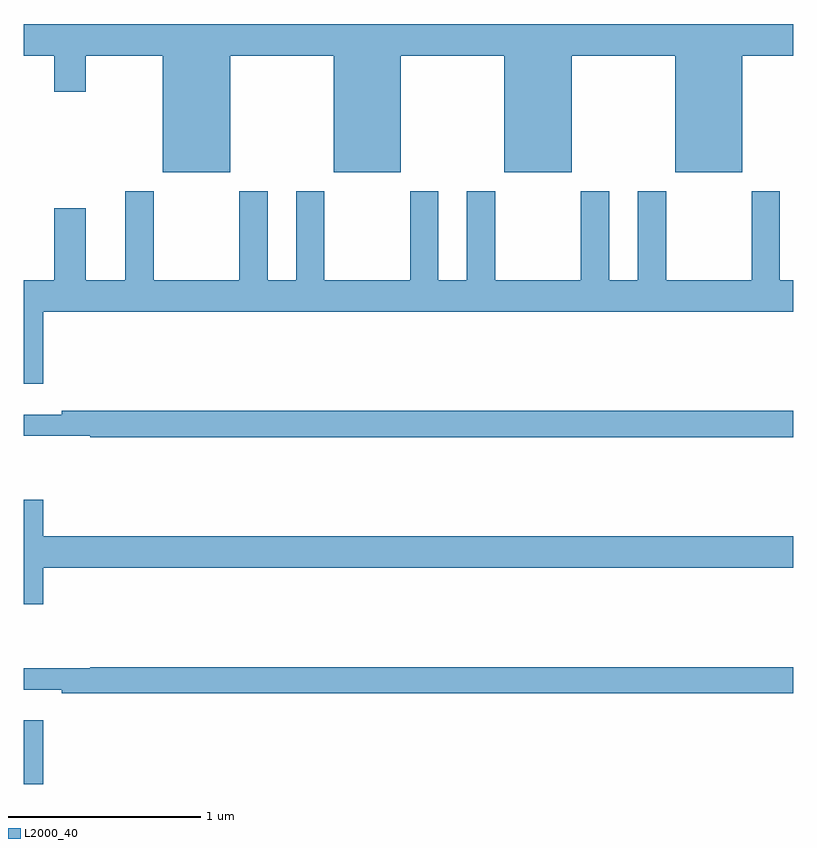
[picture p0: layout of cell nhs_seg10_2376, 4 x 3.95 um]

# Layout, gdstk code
import gdstk
lib = gdstk.Library(unit=1e-6, precision=1e-09)
def R(c, l, rs):  # rectangles x0, y0, x1, y1
    for r in rs: c.add(gdstk.rectangle(r[:2], r[2:], *l))
def P(c, l, *ps):  # polygons
    for p in ps: c.add(gdstk.Polygon(p, *l))
L2000_40 = (2000, 40)

nhs_seg10_2376 = lib.new_cell('nhs_seg10_2376')
R(nhs_seg10_2376, L2000_40, [(237,1324.5,237.1,1324.831)])
P(nhs_seg10_2376, L2000_40, [(238.072,1328.288),(238.61,1328.288),(238.61,1327.682),(238.96,1327.682),(238.96,1328.288),(239.498,1328.288),(239.498,1327.682),(239.848,1327.682),(239.848,1328.288),(240.386,1328.288),(240.386,1327.682),(240.736,1327.682),(240.736,1328.288),(241,1328.288),(241,1328.452),(237,1328.452),(237,1328.288),(237.158,1328.288),(237.158,1328.1),(237.322,1328.1),(237.322,1328.288),(237.722,1328.288),(237.722,1327.682),(238.072,1327.682)],
  [(237.1,1326.956),(241,1326.956),(241,1327.12),(240.931,1327.12),(240.931,1327.582),(240.784,1327.582),(240.784,1327.12),(240.339,1327.12),(240.339,1327.582),(240.191,1327.582),(240.191,1327.12),(240.043,1327.12),(240.043,1327.582),(239.896,1327.582),(239.896,1327.12),(239.451,1327.12),(239.451,1327.582),(239.303,1327.582),(239.303,1327.12),(239.155,1327.12),(239.155,1327.582),(239.008,1327.582),(239.008,1327.12),(238.563,1327.12),(238.563,1327.582),(238.415,1327.582),(238.415,1327.12),(238.267,1327.12),(238.267,1327.582),(238.12,1327.582),(238.12,1327.12),(237.675,1327.12),(237.675,1327.582),(237.527,1327.582),(237.527,1327.12),(237.322,1327.12),(237.322,1327.495),(237.158,1327.495),(237.158,1327.12),(237,1327.12),(237,1326.582),(237.1,1326.582)],
  [(241,1326.44),(237.196,1326.44),(237.196,1326.421),(237,1326.421),(237,1326.312),(237.345,1326.312),(237.345,1326.304),(241,1326.304)],
  [(237.1,1325.624),(241,1325.624),(241,1325.788),(237.1,1325.788),(237.1,1325.977),(237,1325.977),(237,1325.436),(237.1,1325.436)],
  [(241,1325.108),(237.345,1325.108),(237.345,1325.101),(237,1325.101),(237,1324.991),(237.196,1324.991),(237.196,1324.972),(241,1324.972)])

lib.write_gds('nhs_seg10_2376.gds')
